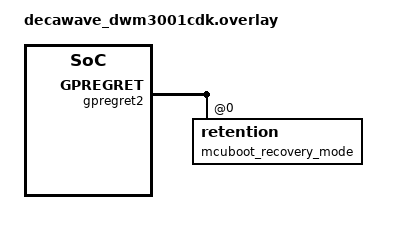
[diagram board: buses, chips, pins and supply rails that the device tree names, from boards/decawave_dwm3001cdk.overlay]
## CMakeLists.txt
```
# SPDX-FileCopyrightText: 2026 Aseem Chopra
# SPDX-License-Identifier: Apache-2.0

cmake_minimum_required(VERSION 3.20.0)

# Build with sysbuild from the root of an upstream Zephyr v4.4.2 or NCS v3.3.0
# workspace; see README.md.
# sysbuild/CMakeLists.txt puts the tinyfota module on both images.
find_package(Zephyr REQUIRED HINTS $ENV{ZEPHYR_BASE})
project(tinyfota_sample)

target_sources(app PRIVATE src/main.c)
```

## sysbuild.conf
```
# MCUboot as image 0: a recovery floor and the delta applier, not a two-slot
# update system.
#
# One internal 512 KB flash means there is room for exactly ONE slot. That rules
# out atomic rollback, which needs a second slot to stage into. Accepted
# deliberately: what this buys is that a board with a corrupt or absent
# application still comes up in a bootloader that will take a new one over the
# J-Link OB's VCOM, with no probe and no external hardware, and that every
# other update is a delta the bootloader applies in place.
#
# NOTHING HERE MAY SET APPROTECT. Not SB_CONFIG_APPROTECT_LOCK, not
# SB_CONFIG_SECURE_APPROTECT_LOCK, and not the CONFIG_NRF_*APPROTECT_LOCK pair
# on any image. The lock re-asserts in SystemInit() on every boot and the only
# way out is `nrfjprog --recover`, which mass-erases flash AND UICR -- taking
# settings_storage with it. NCS defaults to open; leaving it alone is the whole
# requirement.
SB_CONFIG_BOOTLOADER_MCUBOOT=y
SB_CONFIG_MCUBOOT_MODE_SINGLE_APP=y

# ECDSA-P256 rather than ED25519. MCUboot's ED25519 is hash-then-sign over
# SHA-512, so it pulls in a second hash implementation and pays flash for it;
# P-256 verifies over the SHA-256 that the image hash already requires. It is
# also the curve the application checks a patch header with.
SB_CONFIG_BOOT_SIGNATURE_TYPE_ECDSA_P256=y
```

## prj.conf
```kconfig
# tinyfota sample: receive a signed delta patch over Bluetooth (SMP, and with
# native.conf also the L2CAP CoC and the native GATT service) or the serial
# cable, stage it, and reboot into MCUboot, which applies it in place.
# sysbuild/mcuboot.conf is the bootloader half.

# ---- signing ------------------------------------------------------------------
# In single-slot mode MCUboot's own trailer does not depend on the sector count,
# so imgtool's swap-status reservation is space nothing uses. See pm_static.yml.
CONFIG_MCUBOOT_EXTRA_IMGTOOL_ARGS="--max-sectors 1"

# ---- the receiver ---------------------------------------------------------------
CONFIG_FLASH=y
CONFIG_FLASH_MAP=y
CONFIG_FLASH_PAGE_LAYOUT=y
CONFIG_TINYFOTA_RECEIVER=y
# SMP over GATT, what tinyfota push and the browser page speak. It selects
# CONFIG_TINYFOTA_SMP_IMG, which also serves SMP over uart0 below.
CONFIG_TINYFOTA_BLE_SMP=y
CONFIG_TINYFOTA_LOG_LEVEL_INF=y

# The receiver's Kconfig depends on SETTINGS, as the source's did.
CONFIG_SETTINGS=y
CONFIG_NVS=y
CONFIG_SETTINGS_NVS=y

# The header signature is checked here, in software: the nRF52833 has no crypto
# accelerator, so this is mbedTLS behind PSA on upstream Zephyr, and Oberon on
# NCS (CONFIG_NRF_SECURITY, which only NCS defines, is set in sysbuild.cmake).
CONFIG_MBEDTLS_PSA_CRYPTO_C=y
CONFIG_MBEDTLS_ENABLE_HEAP=y
CONFIG_MBEDTLS_HEAP_SIZE=1024
CONFIG_PSA_WANT_ALG_ECDSA=y
CONFIG_PSA_WANT_ECC_SECP_R1_256=y
CONFIG_PSA_WANT_KEY_TYPE_ECC_PUBLIC_KEY=y
CONFIG_PSA_WANT_ALG_SHA_256=y

# ---- Bluetooth ------------------------------------------------------------------
CONFIG_BT=y
CONFIG_BT_PERIPHERAL=y
CONFIG_BT_DEVICE_NAME="tinyfota"

# TWO SLOTS, ONE OF THEM FOR UPDATES. With one connection slot a board that is
# doing its job -- a phone connected -- stops advertising and is invisible to
# every updater (ultrawidelock commit 91bf7f0f, measured over SWD there).
# src/main.c refuses to build with fewer than two, and restarts advertising
# while a slot is free.
CONFIG_BT_MAX_CONN=2

# The native L2CAP CoC and GATT service are in native.conf
# (-DEXTRA_CONF_FILE=native.conf); no shipped client uses them.
CONFIG_BT_BUF_ACL_RX_SIZE=255
CONFIG_BT_BUF_ACL_TX_SIZE=251
CONFIG_BT_L2CAP_TX_MTU=512
CONFIG_BT_USER_DATA_LEN_UPDATE=y
CONFIG_BT_AUTO_DATA_LEN_UPDATE=y

# ---- mcumgr: SMP over Bluetooth and over uart0 ------------------------------------
# What nRF Device Manager, `mcumgr` and `tinyfota push` speak. Zephyr's own
# img_mgmt cannot be built in single-slot mode; CONFIG_TINYFOTA_SMP_IMG serves
# group 1 instead and forwards every byte to the receiver.
CONFIG_ZCBOR=y
CONFIG_MCUMGR=y
CONFIG_MCUMGR_TRANSPORT_BT=y
# Hands an unpaired peer the SMP endpoint; the update window and the reset gate
# (ports/zephyr/dfu_smp_img.c) are what stand in front of it.
CONFIG_MCUMGR_TRANSPORT_BT_PERM_RW=y
CONFIG_MCUMGR_TRANSPORT_NETBUF_SIZE=512
CONFIG_MCUMGR_TRANSPORT_NETBUF_COUNT=2
CONFIG_MCUMGR_TRANSPORT_WORKQUEUE_STACK_SIZE=2048
CONFIG_MCUMGR_GRP_OS=y
CONFIG_MCUMGR_MGMT_NOTIFICATION_HOOKS=y
CONFIG_MCUMGR_GRP_OS_RESET_HOOK=y
CONFIG_MCUMGR_GRP_OS_TASKSTAT=n
CONFIG_MCUMGR_GRP_OS_INFO=n
CONFIG_MCUMGR_GRP_OS_BOOTLOADER_INFO=n
CONFIG_BASE64=y
# Zephyr v4.4 turned UART_MCUMGR from something the transport selects into
# something it depends on, and without this line upstream drops the transport
# with only a Kconfig warning. On NCS v3.3.0 the transport still selects it.
CONFIG_UART_MCUMGR=y
CONFIG_MCUMGR_TRANSPORT_UART=y
CONFIG_MCUMGR_TRANSPORT_UART_MTU=512

# ---- console on RTT, so uart0 carries SMP -----------------------------------------
CONFIG_SERIAL=y
CONFIG_UART_CONSOLE=n
CONFIG_USE_SEGGER_RTT=y
CONFIG_RTT_CONSOLE=y
CONFIG_LOG=y
CONFIG_LOG_BACKEND_RTT=y
CONFIG_LOG_BACKEND_UART=n

# ---- the update button, its LED, and the recovery gesture -------------------------
# Both default to n in the module, because sw0 normally belongs to the
# application; this sample has nothing else on it.
CONFIG_TINYFOTA_BUTTON=y
CONFIG_TINYFOTA_RECOVERY_GESTURE=y
CONFIG_GPIO=y
CONFIG_REBOOT=y
CONFIG_RETAINED_MEM=y
CONFIG_RETENTION=y
CONFIG_RETENTION_BOOT_MODE=y
```

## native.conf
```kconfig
# The two native transports, which no shipped client uses: tinyfota push and the
# browser page speak SMP over GATT (prj.conf). Add with
# -DEXTRA_CONF_FILE=native.conf.
CONFIG_TINYFOTA_BLE_GATT=y
CONFIG_TINYFOTA_BLE_COC=y

# The native update channel: its own L2CAP CoC (PSM 0x0081, 256 B SDUs). In
# this Zephyr, dynamic L2CAP channels depend on the SMP layer; the board still
# never pairs (no bonding, no stored keys).
CONFIG_BT_SMP=y
CONFIG_BT_BONDABLE=n
CONFIG_BT_L2CAP_DYNAMIC_CHANNEL=y
```

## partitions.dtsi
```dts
/* SPDX-FileCopyrightText: 2026 Aseem Chopra */
/* SPDX-License-Identifier: Apache-2.0 */

/* The flash map on upstream Zephyr: the same addresses as pm_static.yml, which
 * says why each partition is where it is. NCS's Partition Manager reads
 * pm_static.yml and ignores this file; upstream Zephyr has no Partition Manager
 * and reads only this. The two must agree, and `make tooling` checks that they
 * do. Both images include it: MCUboot through sysbuild/mcuboot.overlay, the
 * application through boards/<board>.overlay.
 *
 *   0x00000  boot_partition      40,960 B   MCUboot + the tinyfota applier
 *   0x0a000  slot0_partition    434,176 B   image header + the application
 *   0x74000  patch_staging       32,768 B   one delta patch and its control pages
 *   0x7c000  storage_partition   16,384 B   settings (NVS)
 *   0x80000  end, 524,288 B: the part exactly
 */
&flash0 {
	/delete-node/ partitions;

	partitions {
		compatible = "fixed-partitions";
		#address-cells = <1>;
		#size-cells = <1>;

		boot_partition: partition@0 {
			label = "mcuboot";
			reg = <0x00000 0x0a000>;
		};

		slot0_partition: partition@a000 {
			label = "image-0";
			reg = <0x0a000 0x6a000>;
		};

		patch_staging: partition@74000 {
			label = "patch-staging";
			reg = <0x74000 0x08000>;
		};

		storage_partition: partition@7c000 {
			label = "storage";
			reg = <0x7c000 0x04000>;
		};
	};
};
```

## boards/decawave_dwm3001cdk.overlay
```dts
/* SPDX-License-Identifier: ISC */

/* The recovery gesture (CONFIG_TINYFOTA_RECOVERY_GESTURE): the application
 * writes a one-shot request into GPREGRET2 and warm-resets; MCUboot reads the
 * same byte (sysbuild/mcuboot.overlay) and enters serial recovery. GPREGRET2
 * survives a warm reset and avoids the Nordic-owned GPREGRET1. */
/ {
	chosen {
		zephyr,boot-mode = &mcuboot_recovery_mode;
	};
};

&gpregret2 {
	mcuboot_recovery_mode: retention@0 {
		compatible = "zephyr,retention";
		status = "okay";
		reg = <0x0 0x1>;
	};
};
```

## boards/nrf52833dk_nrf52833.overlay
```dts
/* SPDX-FileCopyrightText: 2026 Aseem Chopra */
/* SPDX-License-Identifier: Apache-2.0 */

#include "../partitions.dtsi"

/* The recovery gesture (CONFIG_TINYFOTA_RECOVERY_GESTURE): the application
 * writes a one-shot request into GPREGRET2 and warm-resets; MCUboot reads the
 * same byte (sysbuild/mcuboot.overlay) and enters serial recovery. GPREGRET2
 * survives a warm reset and avoids the Nordic-owned GPREGRET1. */
/ {
	chosen {
		zephyr,boot-mode = &mcuboot_recovery_mode;
	};
};

&gpregret2 {
	mcuboot_recovery_mode: retention@0 {
		compatible = "zephyr,retention";
		status = "okay";
		reg = <0x0 0x1>;
	};
};
```

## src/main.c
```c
/* SPDX-FileCopyrightText: 2026 Aseem Chopra */
/* SPDX-License-Identifier: Apache-2.0 */

/*
 * tinyfota sample: the smallest application that takes a delta update.
 *
 * It advertises the services an updater looks for, keeps a connection slot
 * free for one, opens an update window when sw0 is pressed, and says at every
 * boot which image it is running. Everything else is the tinyfota module:
 * ports/zephyr/dfu_ble_zephyr.c (the button, and with native.conf the L2CAP
 * CoC and the native GATT service), and
 * ports/zephyr/dfu_smp_img.c (SMP over Bluetooth and uart0).
 *
 * No update is accepted until the window is open. The patch is signed and
 * MCUboot re-verifies the result, so the window is not what stops a forged
 * update; it is what stops a stranger in radio range from spending erase
 * cycles and forcing reboots.
 */

#include <zephyr/bluetooth/bluetooth.h>
#include <zephyr/bluetooth/conn.h>
#include <zephyr/bluetooth/uuid.h>
#include <zephyr/drivers/gpio.h>
#include <zephyr/kernel.h>
#include <zephyr/logging/log.h>
#include <zephyr/sys/atomic.h>

#include <string.h>

#include "tinyfota_rx.h"
#include "tinyfota/tinyfota_partitions.h"

LOG_MODULE_REGISTER(sample, LOG_LEVEL_INF);

/*
 * RESERVE A CONNECTION FOR UPDATES. The controller stops advertising when a
 * peer connects, so a board with one slot that is in use is invisible to
 * every updater -- not slow to find, invisible: a browser's chooser stays
 * empty. Two slots, and advertising restarted while one is free, is the fix
 * (ultrawidelock commit 91bf7f0f). An application built on this sample keeps
 * one slot for its own peer and one for the updater.
 *
 * ONE IS ENOUGH when an update and the application's own BLE use never
 * overlap: a lock that uses BLE only to be commissioned can advertise the SMP
 * service while the update window is open and its own link is down. This
 * sample asserts two because it stands for an application whose peer stays
 * connected.
 */
BUILD_ASSERT(CONFIG_BT_MAX_CONN >= 2,
	     "tinyfota: reserve a connection for updates -- set CONFIG_BT_MAX_CONN=2 or more");

/*
 * FOUND BY SERVICE UUID, never by name. A 31-byte advertisement truncates the
 * name, and a name filter then fails silently (ultrawidelock commit 6001dd51).
 * The SMP service goes in the advertisement, the native update service in the
 * scan response when native.conf builds it in; every tinyfota host tool
 * filters on one or the other.
 */
static const struct bt_data k_ad[] = {
	BT_DATA_BYTES(BT_DATA_FLAGS, (BT_LE_AD_GENERAL | BT_LE_AD_NO_BREDR)),
	BT_DATA_BYTES(BT_DATA_UUID128_ALL,
		      BT_UUID_128_ENCODE(0x8d53dc1d, 0x1db7, 0x4cd3, 0x868b, 0x8a527460aa84)),
};

static const struct bt_data k_sd[] = {
#if IS_ENABLED(CONFIG_TINYFOTA_BLE_GATT) || IS_ENABLED(CONFIG_TINYFOTA_BLE_COC)
	BT_DATA_BYTES(BT_DATA_UUID128_ALL,
		      BT_UUID_128_ENCODE(0xd3b5a140, 0x9e23, 0x4b3a, 0x8be4, 0x6b1ee5f980a3)),
#endif
	BT_DATA(BT_DATA_NAME_COMPLETE, CONFIG_BT_DEVICE_NAME, sizeof(CONFIG_BT_DEVICE_NAME) - 1),
};

static atomic_t s_conn_count;

static void adv_work_fn(struct k_work *work)
{
	int rc;

	ARG_UNUSED(work);
	if (atomic_get(&s_conn_count) >= CONFIG_BT_MAX_CONN) {
		return; /* a connectable advertisement with no free slot would be a lie */
	}
	rc = bt_le_adv_start(BT_LE_ADV_CONN_FAST_1, k_ad, ARRAY_SIZE(k_ad), k_sd,
			     ARRAY_SIZE(k_sd));
	if (rc != 0 && rc != -EALREADY) {
		LOG_WRN("advertising rc=%d", rc);
	}
}
static K_WORK_DEFINE(s_adv_work, adv_work_fn);

static void on_connected(struct bt_conn *conn, uint8_t err)
{
	ARG_UNUSED(conn);
	if (err == 0U) {
		atomic_inc(&s_conn_count);
	}
	/* The controller ended the advertising set; restart it while a slot
	 * is still free, or the second slot is unreachable. */
	(void)k_work_submit(&s_adv_work);
}

static void on_disconnected(struct bt_conn *conn, uint8_t reason)
{
	ARG_UNUSED(conn);
	ARG_UNUSED(reason);
	/* Clamped at zero: a failed establishment can be reported here without a
	 * matching connected count, and a negative count would read as "slots
	 * free" forever. */
	if (atomic_get(&s_conn_count) > 0) {
		atomic_dec(&s_conn_count);
	}
}

static void on_recycled(void)
{
	(void)k_work_submit(&s_adv_work);
}

BT_CONN_CB_DEFINE(s_conn_cb) = {
	.connected = on_connected,
	.disconnected = on_disconnected,
	.recycled = on_recycled,
};

/* ---- the window indicator ------------------------------------------------ */

/* There is no way to see from outside the board that the window is open, so
 * led0 shows it. */
static const struct gpio_dt_spec s_led = GPIO_DT_SPEC_GET_OR(DT_ALIAS(led0), gpios, {0});

static void window_changed(bool open)
{
	if (s_led.port != NULL) {
		(void)gpio_pin_set_dt(&s_led, open ? 1 : 0);
	}
	LOG_INF("update window %s", open ? "open" : "closed");
}

/* ---- which image is this -------------------------------------------------- */

/*
 * Single-slot MCUboot has no test state for an image to confirm itself out of:
 * MCUboot validated this image before jumping to it, and the applier consumed
 * the patch that produced it. What the image owes the host is its identity, so
 * the host can confirm the update it pushed is the one that runs. The SMP
 * image list reports the same SHA-256 (ports/zephyr/dfu_smp_img.c).
 */
static void report_running_image(void)
{
	const uint8_t *base = (const uint8_t *)TINYFOTA_PARTITION_ADDRESS(slot0_partition);
	const uint8_t *tlv;
	const uint8_t *end;
	uint32_t magic, img_size;
	uint16_t hdr_size, tot;

	memcpy(&magic, base, sizeof(magic));
	if (magic != 0x96f3b83du) {
		LOG_WRN("no MCUboot header at the start of the slot");
		return;
	}
	memcpy(&hdr_size, base + 8, sizeof(hdr_size));
	memcpy(&img_size, base + 12, sizeof(img_size));
	tlv = base + hdr_size + img_size;
	memcpy(&tot, tlv + 2, sizeof(tot));
	if (tlv[0] == 0x08 && tlv[1] == 0x69) { /* protected TLVs first */
		tlv += tot;
		memcpy(&tot, tlv + 2, sizeof(tot));
	}
	end = tlv + tot;
	for (const uint8_t *p = tlv + 4; p + 4 <= end;) {
		uint16_t len;

		memcpy(&len, p + 2, sizeof(len));
		if (p[0] == 0x10 && len == 32U) {
			LOG_INF("running v%u.%u.%u+%u, sha256 %02x%02x%02x%02x%02x%02x%02x%02x...",
				base[20], base[21], (unsigned)(base[22] | (base[23] << 8)),
				(unsigned)(base[24] | (base[25] << 8) | (base[26] << 16) |
					   ((uint32_t)base[27] << 24)),
				p[4], p[5], p[6], p[7], p[8], p[9], p[10], p[11]);
			return;
		}
		p += 4 + len;
	}
	LOG_WRN("running image has no SHA-256 TLV");
}

int main(void)
{
	int rc;

	report_running_image();

	if (s_led.port != NULL && gpio_is_ready_dt(&s_led)) {
		(void)gpio_pin_configure_dt(&s_led, GPIO_OUTPUT_INACTIVE);
	}
	tinyfota_set_window_cb(window_changed);

	rc = bt_enable(NULL);
	if (rc != 0) {
		LOG_ERR("bt_enable rc=%d", rc);
		return 0;
	}
	rc = tinyfota_ble_start();
	if (rc != 0) {
		LOG_ERR("update transport rc=%d", rc);
	}
	(void)k_work_submit(&s_adv_work);
	LOG_INF("ready: press sw0 to open a %u s update window",
		(unsigned)(CONFIG_TINYFOTA_WINDOW_MS / 1000));
	return 0;
}
```
